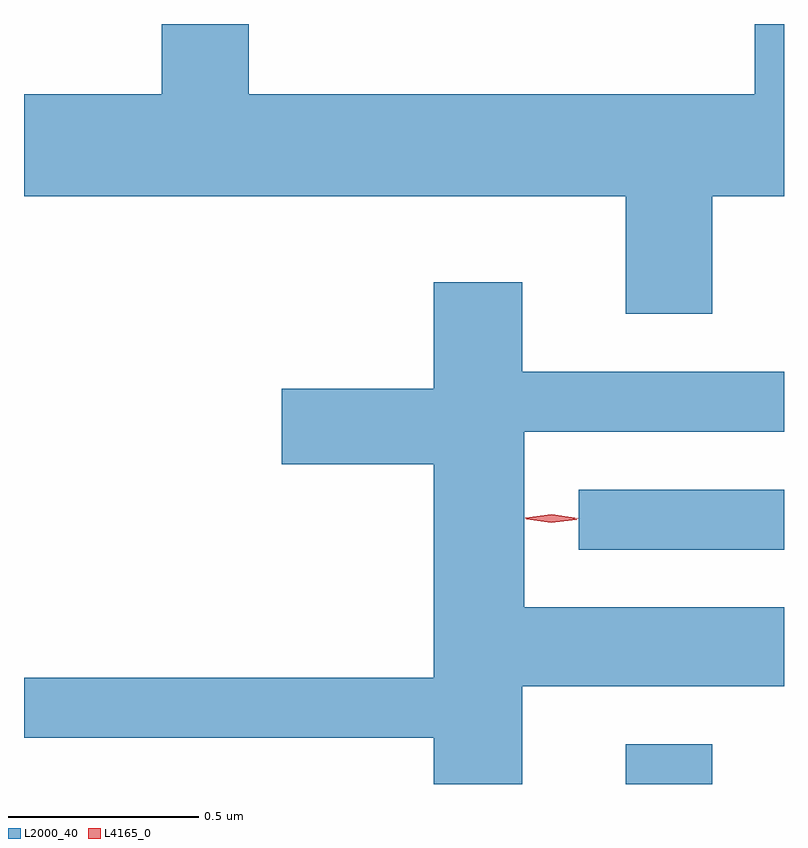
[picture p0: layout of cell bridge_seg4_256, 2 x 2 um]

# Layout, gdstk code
import gdstk
lib = gdstk.Library(unit=1e-6, precision=1e-09)
def R(c, l, rs):  # rectangles x0, y0, x1, y1
    for r in rs: c.add(gdstk.rectangle(r[:2], r[2:], *l))
def P(c, l, *ps):  # polygons
    for p in ps: c.add(gdstk.Polygon(p, *l))
L2000_40 = (2000, 40)
L4165_0 = (4165, 0)

bridge_seg4_256 = lib.new_cell('bridge_seg4_256')
R(bridge_seg4_256, L2000_40, [(664.981,1328.709,665.209,1328.814), (664.858,1329.326,665.398,1329.484)])
P(bridge_seg4_256, L2000_40, [(665.209,1330.256),(665.398,1330.256),(665.398,1330.709),(665.321,1330.709),(665.321,1330.524),(663.989,1330.524),(663.989,1330.709),(663.761,1330.709),(663.761,1330.524),(663.398,1330.524),(663.398,1330.256),(664.981,1330.256),(664.981,1329.946),(665.209,1329.946)],
  [(664.709,1328.966),(665.398,1328.966),(665.398,1329.174),(664.714,1329.174),(664.714,1329.636),(665.398,1329.636),(665.398,1329.794),(664.709,1329.794),(664.709,1330.029),(664.476,1330.029),(664.476,1329.749),(664.076,1329.749),(664.076,1329.551),(664.476,1329.551),(664.476,1328.989),(663.398,1328.989),(663.398,1328.831),(664.476,1328.831),(664.476,1328.709),(664.709,1328.709)])
P(bridge_seg4_256, L4165_0, [(664.786,1329.399),(664.717,1329.409),(664.717,1329.41),(664.717,1329.41),(664.787,1329.419),(664.856,1329.409),(664.856,1329.408),(664.856,1329.408)],
  [(664.786,1329.396),(664.721,1329.406),(664.72,1329.406),(664.721,1329.407),(664.787,1329.416),(664.852,1329.406),(664.853,1329.406),(664.852,1329.405)])

lib.write_gds('bridge_seg4_256.gds')
